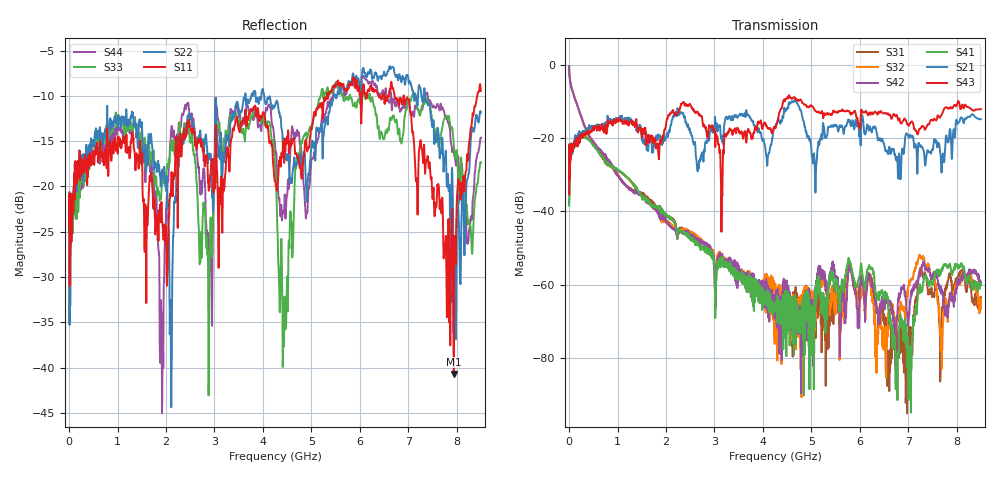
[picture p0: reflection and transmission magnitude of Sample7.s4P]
!Agilent Technologies,E5071C,MY46106673,A.09.22
!Date: Thu Jan 20 16:48:24 2011
!Data & Calibration Information:
!Freq	S11:SOLT4(ON)	S12:SOLT4(ON)	S13:SOLT4(ON)	S14:SOLT4(ON)
!	S21:SOLT4(ON)	S22:SOLT4(ON)	S23:SOLT4(ON)	S24:SOLT4(ON)
!	S31:SOLT4(ON)	S32:SOLT4(ON)	S33:SOLT4(ON)	S34:SOLT4(ON)
!	S41:SOLT4(ON)	S42:SOLT4(ON)	S43:SOLT4(ON)	S44:SOLT4(ON)
# Hz S dB R 50
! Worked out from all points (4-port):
!   1601 points, 100 kHz to 8.5 GHz, reference 50 ohm
!   strongest paths, dB at 100 kHz, 2.125 GHz, 4.25 GHz, 6.375 GHz, 8.5 GHz:
!     S43: -35.4, -12.9, -17.2, -13.4, -12.1
!     S21: -35.4, -15.1, -16.8, -20.7, -14.9
!     S41: -38.5, -42.4, -67.1, -63.5, -60.2
!     S42: -0.4, -44.7, -68.3, -67.8, -59.3
!     S32: -37.9, -44.0, -62.6, -72.3, -63.8
!     S31: -0.4, -41.8, -62.2, -71.6, -63.8
!   lowest |S11| = -40.7 dB at 7.942 GHz (marker M1), VSWR 1.02, Z = 49.4 + j0.698 ohm
!   |S11| at or under -10 dB: start of sweep to 5.319 GHz; 6.717 GHz to 6.903 GHz (185.9 MHz wide, 2.73 % of centre); 6.912 GHz to 8.425 GHz (1.513 GHz wide, 19.7 % of centre)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
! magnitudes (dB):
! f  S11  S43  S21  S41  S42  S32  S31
! 100 kHz  -24.4  -35.4  -35.4  -38.5  -0.4  -37.9  -0.4
! 3.846 GHz  -11.2  -17.0  -17.7  -63.1  -59.6  -60.9  -60.0
! 4.346 GHz  -17.6  -12.9  -15.5  -68.2  -63.5  -69.0  -63.6
! 6.221 GHz  -8.9  -13.6  -17.8  -55.8  -59.1  -60.3  -57.3
! 7.028 GHz  -11.1  -16.2  -19.5  -78.4  -67.1  -58.9  -72.8
! 7.942 GHz  -40.7  -11.2  -17.7  -55.6  -66.1  -63.6  -60.6
! 8.5 GHz  -9.5  -12.1  -14.9  -60.2  -59.3  -63.8  -63.8
